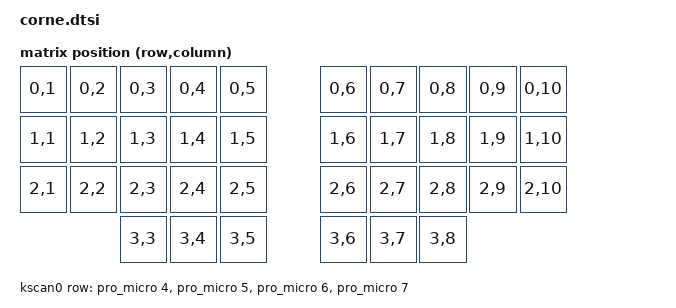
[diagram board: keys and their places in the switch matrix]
// FilePath: config/boards/shields/corne/corne.dtsi

/*
 * FILE: corne.dtsi
 *
 * Shared hardware description for both halves of the Corne split keyboard.
 * This file is included by corne_left.overlay and corne_right.overlay — it
 * runs on every controller regardless of which side it is.
 *
 * It defines the complete shared hardware picture: the key-matrix transform
 * (how switch positions map to key indices), the GPIO matrix scan driver with
 * row pins, the I2C bus and SSD1306 OLED display, and the SPI-driven WS2812
 * RGB LED strip with its pinctrl states.
 *
 * Edit this file when you need to:
 *   - Change OLED or RGB hardware parameters (display size, LED count, timing)
 *   - Adjust which nRF52840 pins drive rows, I2C, or the LED data line
 *   - Modify the shared key-matrix layout (add/remove rows or columns)
 *   - Change the ZMK chosen aliases (e.g. swap the display driver)
 *
 * Do NOT put left/right-specific pin assignments here — those belong in
 * corne_left.overlay and corne_right.overlay respectively.
 *
 * Copyright (c) 2020 Pete Johanson
 * SPDX-License-Identifier: MIT
 */

/* ─── Includes ──────────────────────────────────────────────────────────────── */

/* LED color channel ordering constants — LED_COLOR_ID_GREEN, _RED, _BLUE.
 * Used when configuring the WS2812 color-mapping property below. */
#include <dt-bindings/led/led.h>

/* RC(row, col) macro that expands to the logical key index for a given
 * matrix position.  Used to fill the default_transform map array. */
#include <dt-bindings/zmk/matrix_transform.h>

/* Physical key layout and ZMK Studio position map for the Corne.
 * Defines layout_0 and corne_position_map. */
#include "corne-layouts.dtsi"

/* ─── Root Chosen Aliases ────────────────────────────────────────────────────── */

/* The "chosen" node wires named ZMK/Zephyr roles to the concrete hardware nodes
 * defined in this file.  ZMK resolves these at build time — a missing or
 * disabled target node is a compile error. */
/ {
	chosen {
		/* The Zephyr display subsystem will drive this node as the primary screen.
		 * Points at the ssd1306@3c OLED node defined in the &pro_micro_i2c block
		 * below.  Disable or re-point this when swapping in the nice!view. */
		zephyr,display = &oled;

		/* The key-scan driver ZMK should poll for switch events.
		 * Points at kscan0, the GPIO matrix driver defined below. */
		zmk,kscan = &kscan0;

		/* The physical layout ZMK Studio uses to render the visual key editor.
		 * Points at layout_0 from corne-layouts.dtsi, which encodes every key's
		 * position, size, and rotation angle in physical space. */
		zmk,physical-layout = &layout_0;
	};

/* ─── Matrix Transform ───────────────────────────────────────────────────────── */

	/* Translates raw (row, col) switch closures from the kscan driver into the
	 * sequential key indices that keymap layer arrays reference.
	 *
	 * The Corne presents a unified 12-column × 4-row logical matrix covering both
	 * halves:
	 *   Columns  0-5  = left half  (assigned by corne_left.overlay)
	 *   Columns  6-11 = right half (assigned by corne_right.overlay, col-offset=6)
	 *   Rows     0-2  = main key rows (top, home, bottom)
	 *   Row      3    = thumb cluster
	 *
	 * The comment grid below shows the silk-screen switch labels (SW1…SW21) as
	 * printed on the Corne PCB, with left/right halves separated by a gap. */
	default_transform: keymap_transform_0 {
		compatible = "zmk,matrix-transform";

		/* Total logical columns across both halves combined. */
		columns = <12>;

		/* Total logical rows: 3 main rows + 1 thumb row. */
		rows = <4>;

// | SW1  | SW2  | SW3  | SW4  | SW5  | SW6  |   | SW6  | SW5  | SW4  | SW3  | SW2  | SW1  |
// | SW7  | SW8  | SW9  | SW10 | SW11 | SW12 |   | SW12 | SW11 | SW10 | SW9  | SW8  | SW7  |
// | SW13 | SW14 | SW15 | SW16 | SW17 | SW18 |   | SW18 | SW17 | SW16 | SW15 | SW14 | SW13 |
//                      | SW19 | SW20 | SW21 |   | SW21 | SW20 | SW19 |

		/* Each RC(row, col) expands to the logical key index for that position.
		 * Row 0 = top row; Row 3 = thumb row.
		 * Left half occupies columns 0-5; right half occupies columns 6-11.
		 * The thumb row only has 3 keys per half — RC(3,0..2) and RC(3,9..11)
		 * are intentionally absent (no key exists at those corners).
		 * RC(*,0) (left outer-pinky column) and RC(*,11) (right outer-pinky column)
		 * are also absent — those switches are physically present but unmapped,
		 * implementing the 36-key layout on 42-key hardware. */
		map = <
RC(0,1) RC(0,2) RC(0,3) RC(0,4) RC(0,5)  RC(0,6)  RC(0,7) RC(0,8) RC(0,9) RC(0,10)
RC(1,1) RC(1,2) RC(1,3) RC(1,4) RC(1,5)  RC(1,6)  RC(1,7) RC(1,8) RC(1,9) RC(1,10)
RC(2,1) RC(2,2) RC(2,3) RC(2,4) RC(2,5)  RC(2,6)  RC(2,7) RC(2,8) RC(2,9) RC(2,10)
                        RC(3,3) RC(3,4) RC(3,5)  RC(3,6) RC(3,7) RC(3,8)
		>;
	};

/* ─── Key Scan — GPIO Matrix ─────────────────────────────────────────────────── */

	/* Scans the key matrix by driving columns high one at a time and reading the
	 * four row lines to detect which switches are pressed.
	 *
	 * The col-gpios are NOT listed here — they differ between halves and are
	 * injected by corne_left.overlay and corne_right.overlay respectively. */
	 kscan0: kscan {
        compatible = "zmk,kscan-gpio-matrix";

		/* Allow any keypress to wake the MCU out of deep sleep.
		 * Without this flag the firmware cannot resume from sleep on a keypress. */
		wakeup-source;

        /* col2row: the scan driver drives each column output high in turn, then
         * reads the row inputs to find closed switches.  Each switch connects a
         * column pad to a row pad; the diode (col→row direction) prevents
         * ghost keypresses when multiple keys in the same matrix neighborhood
         * are held simultaneously.
         * The alternative "row2col" reverses driver and sense roles. */
        diode-direction = "col2row";

		/* Four row sense lines, shared across both halves.
		 * These are the input pins that go high when a switch closes its column
		 * to this row.
		 *
		 * GPIO_ACTIVE_HIGH: the line reads 1 (high) when a switch is pressed.
		 * GPIO_PULL_DOWN: ties the idle line to GND so it does not float when
		 *   no switch is pressed — a floating input would cause false key events.
		 *
		 * Pro Micro pin numbers D4–D7 are the logical header labels; ZMK maps
		 * them to the nRF52840 port/pin numbers defined in the board files. */
		row-gpios
			/* D4 — Row 0 (top main row) */
			= <&pro_micro 4 (GPIO_ACTIVE_HIGH | GPIO_PULL_DOWN)>
			/* D5 — Row 1 (home row) */
			, <&pro_micro 5 (GPIO_ACTIVE_HIGH | GPIO_PULL_DOWN)>
			/* D6 — Row 2 (bottom main row) */
			, <&pro_micro 6 (GPIO_ACTIVE_HIGH | GPIO_PULL_DOWN)>
			/* D7 — Row 3 (thumb cluster) */
			, <&pro_micro 7 (GPIO_ACTIVE_HIGH | GPIO_PULL_DOWN)>
			;
    };
};

/* ─── I2C Pinctrl — OLED Display ─────────────────────────────────────────────── */

/* The nRF52840 pinctrl system requires explicit pin assignments for each
 * peripheral state transition.  The TWIM0 (I2C master) peripheral uses:
 *   SDA (data)  = P0.17 — nice!nano header pin D1
 *   SCL (clock) = P0.20 — nice!nano header pin D0
 *
 * IMPORTANT: these are the same physical pads that the nice!view SPI adapter
 * uses for MOSI (P0.17) and SCK (P0.20).  Installing a nice!view requires
 * disabling this I2C bus — see nice_nano_nrf52840_zmk.overlay. */
&pinctrl {
       i2c0_default: i2c0_default {
               group1 {
                       /* Active-state pin assignments: both SDA and SCL driven
                        * by the TWIM peripheral at full drive strength. */
                       psels = <NRF_PSEL(TWIM_SDA, 0, 17)>,
                               <NRF_PSEL(TWIM_SCL, 0, 20)>;
               };
       };

       i2c0_sleep: i2c0_sleep {
               group1 {
                       psels = <NRF_PSEL(TWIM_SDA, 0, 17)>,
                               <NRF_PSEL(TWIM_SCL, 0, 20)>;
                       /* low-power-enable puts the pads into high-impedance input
                        * mode while the MCU sleeps.  This disconnects the internal
                        * pull-ups and prevents current from leaking through the
                        * OLED data lines into the display, which would drain the
                        * battery even while the keyboard is idle. */
                       low-power-enable;
               };
       };
};


/* ─── OLED Display — SSD1306 ─────────────────────────────────────────────────── */

/* Enables the I2C0 bus (aliased as pro_micro_i2c in the nice!nano board files)
 * and registers the SSD1306 OLED controller on it. */
&pro_micro_i2c {
    status = "okay";

    /* The SSD1306 controller on the Corne OLED module.
     * @3c is the 7-bit I2C address in hex — 0x3c is the default when the
     * SA0 address-select pin is tied low on the OLED module. */
    oled: ssd1306@3c {
        compatible = "solomon,ssd1306fb";

        /* 7-bit I2C bus address — must match the @3c node name above. */
        reg = <0x3c>;

        /* Pixel resolution of the OLED panel.
         * The Corne uses a common 128×32 px (0.91 inch) narrow OLED strip. */
        width = <128>;
        height = <32>;

        /* Horizontal start column within the SSD1306's internal 132-column RAM.
         * 0 = no offset; the first visible column maps to RAM column 0.
         * Raise this if the image appears horizontally shifted on your panel. */
        segment-offset = <0>;

        /* Which 8-row PAGE in display RAM corresponds to the first visible row.
         * 0 = start at the top of RAM with no vertical page skip. */
        page-offset = <0>;

        /* Vertical display shift applied by the COM output scan start command.
         * 0 = no shift; COM0 maps directly to the topmost visible row. */
        display-offset = <0>;

        /* Multiplex ratio = (number of active COM lines) − 1.
         * For this 32-row panel: 32 − 1 = 31.  Setting this wrong vertically
         * crops or doubles the image. */
        multiplex-ratio = <31>;

        /* Mirror the column address so that the segment at address 127 is on
         * the left as seen by the user.  Required for the physical orientation
         * of the OLED on the Corne PCB; without it text appears left-right flipped. */
        segment-remap;

        /* Scan COM lines from COM[N−1] down to COM0 (bottom-up in hardware).
         * Combined with segment-remap this orients the display so (0,0) is
         * the top-left corner when the OLED is mounted on the Corne. */
        com-invdir;

        /* Use sequential COM pin configuration rather than the alternative
         * interleaved wiring.  The 32-row OLED modules in the Corne BOM use
         * sequential wiring; the wrong choice here shifts every other scan line. */
        com-sequential;

        /* Invert all pixels: 0 in VRAM = pixel lit, 1 = pixel dark.
         * Produces bright-on-dark (white text, black background), which reads
         * more clearly in most keyboard-use lighting conditions. */
        inversion-on;

        /* Pre-charge period register (SSD1306 command 0xD9).
         * 0x22 = 0b0010_0010: phase-1 = 2 DCLKs, phase-2 = 2 DCLKs.
         * Controls pixel charge/discharge timing between refresh cycles.
         * 0x22 is the manufacturer reference value for a 3.3 V supply. */
        prechargep = <0x22>;
    };
};

/* ─── SPI Pinctrl — WS2812 RGB LEDs ─────────────────────────────────────────── */

/* The WS2812 protocol is emulated over SPI: each WS2812 data bit is encoded
 * as an 8-bit SPI frame (see spi-one-frame / spi-zero-frame in ws2812@0 below).
 * Only MOSI is connected — the LED strip is strictly write-only.
 *
 *   MOSI = P0.6 — the dedicated RGB data pad on the nice!nano.
 *   This pad is NOT exposed on the pro_micro header; it is wired directly
 *   to the Corne PCB's LED data trace. */
&pinctrl {
    spi3_default: spi3_default {
        group1 {
            /* MOSI only — no SCK or MISO required for a one-wire LED protocol. */
            psels = <NRF_PSEL(SPIM_MOSI, 0, 6)>;
        };
    };

    spi3_sleep: spi3_sleep {
        group1 {
            psels = <NRF_PSEL(SPIM_MOSI, 0, 6)>;
            /* Disconnect MOSI from the SPIM peripheral during sleep so the
             * pin does not drive current into the LED data line while the
             * MCU is powered down.  Prevents slow battery drain through the
             * first LED in the chain. */
            low-power-enable;
		};
	};
};

/* ─── WS2812 RGB LED Strip ───────────────────────────────────────────────────── */

&spi3 {
	compatible = "nordic,nrf-spim";
	status = "okay";

	pinctrl-0 = <&spi3_default>;
	pinctrl-1 = <&spi3_sleep>;
	pinctrl-names = "default", "sleep";


	led_strip: ws2812@0 {
		compatible = "worldsemi,ws2812-spi";

		/* SPI */

		/* Device register — ignored by ws2812-spi because the strip has no
		 * chip-select line, but the SPI bus binding requires a non-negative
		 * reg value, so 0 is used as a placeholder. */
		reg = <0>; /* ignored, but necessary for SPI bindings */

		/* SPI clock frequency used to generate the WS2812 bit timing.
		 * At 4 MHz each clock period = 250 ns.  With an 8-bit frame encoding
		 * one WS2812 bit, total bit time = 8 × 250 ns = 2 µs — within the
		 * WS2812B timing tolerance window. */
		spi-max-frequency = <4000000>;

		/* WS2812 */

		/* Total WS2812 LEDs in the chain on this half of the keyboard.
		 * 27 = 6 underglow LEDs (mounted beneath the PCB for ambient glow)
		 *    + 21 per-key LEDs  (one under each switch, indices 6-26).
		 * The underglow LEDs are first in the chain (indices 0-5); ZMK's
		 * &rgb_ug behavior addresses all 27 by position when effects run. */
		chain-length = <27>; /* There are per-key RGB, but the first 6 are underglow */

		/* WS2812 data bits are encoded as 8-bit SPI frames at 4 MHz.
		 * Each frame represents one WS2812 logic level:
		 *
		 *   spi-one-frame  = 0x70 = 0b01110000
		 *     Three consecutive high clocks (3 × 250 ns ≈ 750 ns high)
		 *     followed by five low clocks → encodes WS2812 logic "1".
		 *
		 *   spi-zero-frame = 0x40 = 0b01000000
		 *     One high clock (1 × 250 ns ≈ 250 ns high)
		 *     followed by seven low clocks → encodes WS2812 logic "0".
		 *
		 * Both frames fit within the WS2812B ±150 ns timing tolerance. */
		spi-one-frame = <0x70>;
		spi-zero-frame = <0x40>;

		/* WS2812 LEDs receive color data in GRB byte order, not the usual RGB.
		 * This mapping tells ZMK to reorder the red/green/blue bytes before
		 * transmission so that requested colors match what the LEDs display. */
		color-mapping = <LED_COLOR_ID_GREEN LED_COLOR_ID_RED LED_COLOR_ID_BLUE>;
	};
};

/* ─── Underglow Chosen Alias ─────────────────────────────────────────────────── */

/* A second root-level chosen block ties the LED strip node to ZMK's RGB
 * underglow subsystem.  ZMK looks up zmk,underglow at boot to find the
 * led_strip it should drive with &rgb_ug behaviors in the keymap. */
/ {
	chosen {
		zmk,underglow = &led_strip;
	};
};
